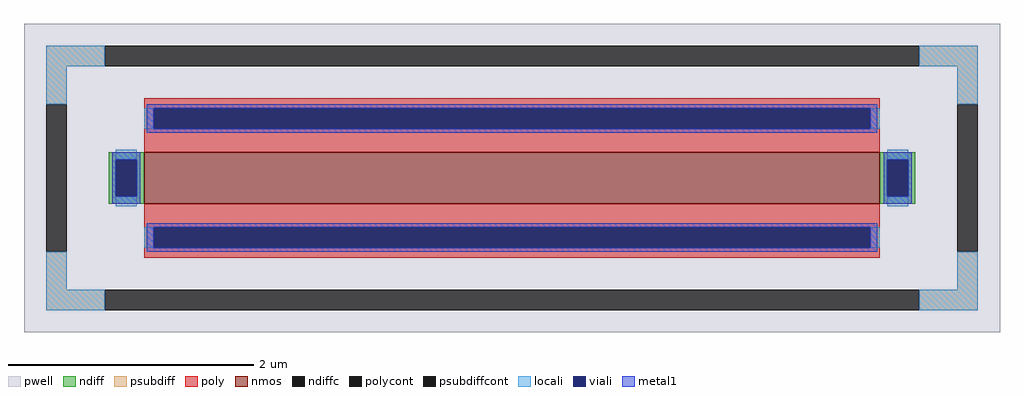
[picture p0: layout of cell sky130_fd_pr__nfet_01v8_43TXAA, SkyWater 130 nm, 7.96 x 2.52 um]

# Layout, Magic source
magic
tech sky130A
<< pwell >>
rect -398 -126 398 126
<< nmos >>
rect -300 -21 300 21
<< ndiff >>
rect -329 15 -300 21
rect -329 -15 -323 15
rect -306 -15 -300 15
rect -329 -21 -300 -15
rect 300 15 329 21
rect 300 -15 306 15
rect 323 -15 329 15
rect 300 -21 329 -15
<< ndiffc >>
rect -323 -15 -306 15
rect 306 -15 323 15
<< psubdiff >>
rect -380 91 -332 108
rect 332 91 380 108
rect -380 60 -363 91
rect 363 60 380 91
rect -380 -91 -363 -60
rect 363 -91 380 -60
rect -380 -108 -332 -91
rect 332 -108 380 -91
<< psubdiffcont >>
rect -332 91 332 108
rect -380 -60 -363 60
rect 363 -60 380 60
rect -332 -108 332 -91
<< poly >>
rect -300 57 300 65
rect -300 40 -292 57
rect 292 40 300 57
rect -300 21 300 40
rect -300 -40 300 -21
rect -300 -57 -292 -40
rect 292 -57 300 -40
rect -300 -65 300 -57
<< polycont >>
rect -292 40 292 57
rect -292 -57 292 -40
<< locali >>
rect -380 91 -332 108
rect 332 91 380 108
rect -380 60 -363 91
rect 363 60 380 91
rect -300 40 -292 57
rect 292 40 300 57
rect -323 15 -306 23
rect -323 -23 -306 -15
rect 306 15 323 23
rect 306 -23 323 -15
rect -300 -57 -292 -40
rect 292 -57 300 -40
rect -380 -91 -363 -60
rect 363 -91 380 -60
rect -380 -108 -332 -91
rect 332 -108 380 -91
<< viali >>
rect -292 40 292 57
rect -323 -15 -306 15
rect 306 -15 323 15
rect -292 -57 292 -40
<< metal1 >>
rect -298 57 298 60
rect -298 40 -292 57
rect 292 40 298 57
rect -298 37 298 40
rect -326 15 -303 21
rect -326 -15 -323 15
rect -306 -15 -303 15
rect -326 -21 -303 -15
rect 303 15 326 21
rect 303 -15 306 15
rect 323 -15 326 15
rect 303 -21 326 -15
rect -298 -40 298 -37
rect -298 -57 -292 -40
rect 292 -57 298 -40
rect -298 -60 298 -57
<< properties >>
string FIXED_BBOX -371 -99 371 99
string gencell sky130_fd_pr__nfet_01v8
string library sky130
string parameters w 0.42 l 6.0 m 1 nf 1 diffcov 100 polycov 100 guard 1 glc 1 grc 1 gtc 1 gbc 1 tbcov 100 rlcov 100 topc 1 botc 1 poverlap 0 doverlap 1 lmin 0.15 wmin 0.42 compatible {sky130_fd_pr__nfet_01v8 sky130_fd_pr__nfet_01v8_lvt  sky130_fd_bs_flash__special_sonosfet_star  sky130_fd_pr__nfet_g5v0d10v5 sky130_fd_pr__nfet_05v0_nvt  sky130_fd_pr__nfet_03v3_nvt} full_metal 1 viasrc 100 viadrn 100 viagate 100 viagb 0 viagr 0 viagl 0 viagt 0
<< end >>
